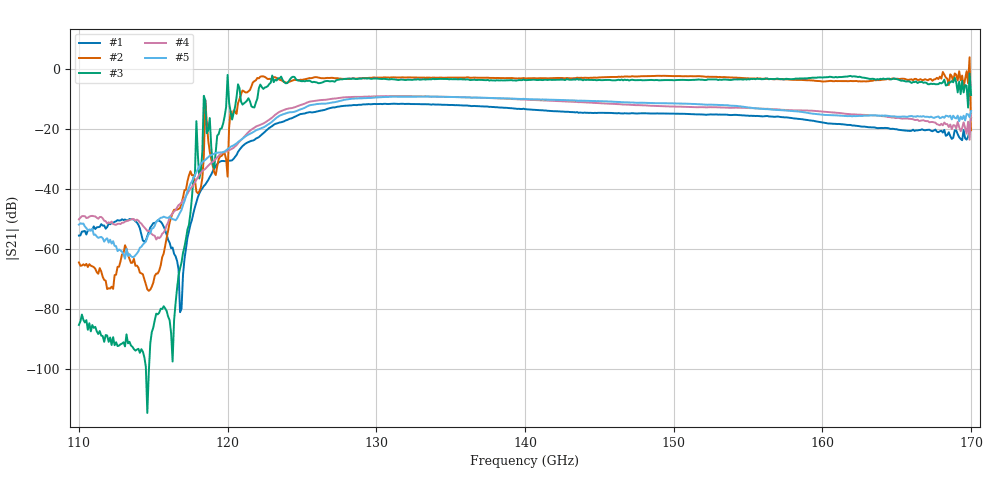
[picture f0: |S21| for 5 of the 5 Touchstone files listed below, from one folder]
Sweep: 110 GHz to 170 GHz
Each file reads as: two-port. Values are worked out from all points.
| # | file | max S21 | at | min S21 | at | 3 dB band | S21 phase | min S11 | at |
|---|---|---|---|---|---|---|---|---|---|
| 1 | GapWG_Line1.s2p | -11.56 dB | 131.2 GHz | -81.2 dB | 116.8 GHz | 125.4 GHz-143.5 GHz | -86 deg at 140 GHz | -34.6 dB | 135.2 GHz |
| 2 | GapWG_PLTS2.s2p | 3.95 dB | 169.9 GHz | -74.1 dB | 114.7 GHz | 169.9 GHz-169.9 GHz | -150 deg at 140 GHz | -54.4 dB | 138.1 GHz |
| 3 | GapWG_PLTS3.s2p | -1.48 dB | 169.9 GHz | -114.8 dB | 114.6 GHz | 126.4 GHz-165.9 GHz | 148 deg at 140 GHz | -50.8 dB | 156.8 GHz |
| 4 | GapWG_Thru2.s2p | -8.99 dB | 131.2 GHz | -56.9 dB | 115.2 GHz | 125 GHz-147.3 GHz | 76 deg at 140 GHz | -27.1 dB | 134.9 GHz |
| 5 | GapWG_Thru3.s2p | -9.16 dB | 133.3 GHz | -63.3 dB | 113.1 GHz | 125.5 GHz-153.6 GHz | 109 deg at 140 GHz | -28.5 dB | 135.8 GHz |
